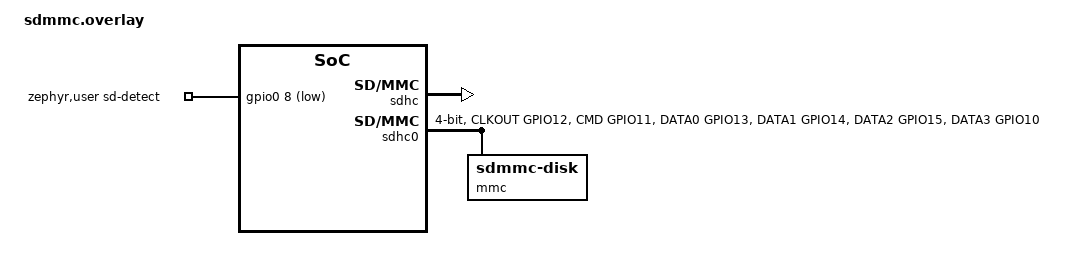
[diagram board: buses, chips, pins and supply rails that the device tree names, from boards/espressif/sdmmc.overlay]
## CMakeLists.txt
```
cmake_minimum_required(VERSION 3.20.0)
find_package(Zephyr REQUIRED HINTS $ENV{ZEPHYR_BASE})
project(zephyrforge)
if(NOT CONFIG_ZF_STORAGE AND
   (CONFIG_USBD_MSC_CLASS OR CONFIG_DISK_ACCESS OR CONFIG_DISK_DRIVER_SDMMC OR CONFIG_FILE_SYSTEM OR
    CONFIG_FAT_FILESYSTEM_ELM OR CONFIG_FS_FATFS_EXFAT OR CONFIG_SDHC OR CONFIG_SPI_SDHC OR
    CONFIG_ZF_SDHC_RPI_PICO_PIO))
  message(FATAL_ERROR
    "SD storage subsystems are owned by CONFIG_ZF_STORAGE; partial storage configuration is not supported")
endif()
if(CONFIG_FS_FATFS_MOUNT_MKFS OR CONFIG_FS_FATFS_MKFS)
  message(FATAL_ERROR "ZephyrForge never formats SD cards; disable FAT mkfs support")
endif()
if(NOT CONFIG_ZF_USB_HID AND NOT CONFIG_ZF_BLUETOOTH)
  message(FATAL_ERROR "Firmware needs a management link: enable CONFIG_ZF_USB_HID or CONFIG_ZF_BLUETOOTH")
endif()
# Kconfig symbols are the only firmware module switches.
if(CONFIG_ZF_STORAGE_BENCHMARK)
  target_compile_definitions(app PRIVATE
    ZF_BENCHMARK_CHUNK_SIZE=${CONFIG_ZF_STORAGE_BENCHMARK_CHUNK_SIZE})
endif()
if(CONFIG_SOC_FAMILY_RPI_PICO)
  # Report 1 identity: MCU 1 RP2040 or 2 RP2350. Report 2 monitor UART pins are read from the
  # console devicetree pinctrl in board.c.
  if(CONFIG_SOC_RP2040)
    set(zf_mcu ZF_MCU_RP2040)
  else()
    set(zf_mcu ZF_MCU_RP2350)
  endif()
  if(CONFIG_BOARD_RPI_PICO_RP2040_W)
    set(zf_board ZF_BOARD_PICO_W)
  elseif(CONFIG_BOARD_RPI_PICO2_RP2350A_M33_W)
    set(zf_board ZF_BOARD_PICO2_W)
  elseif(CONFIG_BOARD_RPI_PICO2)
    set(zf_board ZF_BOARD_PICO2)
  else()
    set(zf_board ZF_BOARD_PICO)
  endif()
  if(CONFIG_ZF_WIFI)
    set(zf_pico_rand ${ZEPHYR_HAL_RPI_PICO_MODULE_DIR}/src/rp2_common/pico_rand)
    target_sources(app PRIVATE src/drivers/random_rpi_pico.c ${zf_pico_rand}/rand.c)
    target_include_directories(app PRIVATE ${zf_pico_rand}/include
      ${ZEPHYR_HAL_RPI_PICO_MODULE_DIR}/src/common/pico_time/include)
    target_compile_definitions(app PRIVATE PICO_RAND_SEED_ENTROPY_SRC_BOARD_ID=0
      PICO_RAND_SEED_ENTROPY_SRC_RAM_HASH=0)
    # Map SDK state to Zephyr RAM and use timer waits for microsecond ROSC sampling, without SDK alarm pools.
    set_source_files_properties(${zf_pico_rand}/rand.c TARGET_DIRECTORY app PROPERTIES
      COMPILE_OPTIONS "-D__uninitialized_ram(name)=__attribute__((section(\".noinit\"))) name;-Dsleep_until=busy_wait_until")
    zephyr_syscall_header(${ZEPHYR_BASE}/include/zephyr/random/random.h)
  endif()
  target_sources(app PRIVATE src/platform/soc_rpi_pico.c)
  target_sources_ifdef(CONFIG_ZF_SDHC_RPI_PICO_PIO app PRIVATE src/drivers/sdhc_rpi_pico_pio.c
    src/drivers/sdio_codec.c)
else()
  if(CONFIG_SOC_ESP32S3)
    set(zf_mcu ZF_MCU_ESP32S3)
    set(zf_board ZF_BOARD_DEVKITC)
  elseif(CONFIG_SOC_ESP32C6)
    set(zf_mcu ZF_MCU_ESP32C6)
    set(zf_board ZF_BOARD_ESP32C6_DEVKITC)
    set(zf_sysclk_max_profile 2u)
  else()
    message(FATAL_ERROR "Unsupported Espressif SoC")
  endif()
  target_sources(app PRIVATE src/platform/soc_espressif.c)
  if(DEFINED zf_sysclk_max_profile)
    target_compile_definitions(app PRIVATE ZF_SYSCLK_MAX_PROFILE=${zf_sysclk_max_profile})
  endif()
endif()

target_sources_ifdef(CONFIG_ZF_WIFI app PRIVATE src/wifi/wifi_station.c src/wifi/wifi_driver.c
  src/wifi/wifi_policy.c src/wifi/wifi_scan_table.c)
target_sources_ifdef(CONFIG_ZF_BLUETOOTH app PRIVATE src/transport/ble_gatt.c src/transport/ble_auth.c
  src/transport/sha256.c)
target_compile_definitions(app PRIVATE ZF_MCU=${zf_mcu} ZF_BOARD_MODEL=${zf_board})

target_sources_ifdef(CONFIG_ZF_STORAGE app PRIVATE src/storage/storage_service.c src/storage/storage_media.c
  src/storage/storage_policy.c)
target_sources_ifdef(CONFIG_ZF_USB_MSC app PRIVATE src/transport/usb_msc.c)
target_sources_ifdef(CONFIG_ZF_STORAGE_BENCHMARK app PRIVATE src/benchmark/benchmark_engine.c
  src/benchmark/benchmark_service.c src/benchmark/benchmark_media.c)
target_sources(app PRIVATE
  src/app/main.c
  src/app/runtime.c
  src/platform/board.c
  src/management/control.c
  src/management/credential_stage.c
  src/protocol/report_codec.c
  src/management/report_builder.c
  src/settings/settings.c
  src/settings/settings_flash_read.c
  src/management/telemetry.c)
target_sources_ifdef(CONFIG_ZF_SETTINGS_SAVE app PRIVATE src/settings/settings_flash_write.c)
target_sources_ifdef(CONFIG_ZF_LED app PRIVATE src/platform/led.c)
target_sources_ifdef(CONFIG_ZF_USB_HID app PRIVATE src/transport/usb_device.c)
target_include_directories(app PRIVATE src)
# The pinned ESP32-S3 HAL leaves the PHY library's weak sensor-power hooks linked. They power the die-temperature
# sensor off during Wi-Fi modem sleep, and the next telemetry read then spins with interrupts locked. The HAL
# override reference-counts that power instead.
if(CONFIG_ESP32_TEMP AND CONFIG_SOC_ESP32S3)
  target_sources(app PRIVATE ${ZEPHYR_HAL_ESPRESSIF_MODULE_DIR}/components/esp_phy/src/phy_override.c)
endif()
# Release builds pass the tag version; other builds use the development default.
if(NOT DEFINED ZEPHYRFORGE_VERSION)
  set(ZEPHYRFORGE_VERSION "$ENV{ZEPHYRFORGE_VERSION}")
endif()
if("${ZEPHYRFORGE_VERSION}" STREQUAL "")
  set(ZEPHYRFORGE_VERSION 0.1.0)
endif()
set(zf_version_component "(0|[1-9]|[1-9][0-9]|1[0-9][0-9]|2[0-4][0-9]|25[0-5])")
if(NOT "${ZEPHYRFORGE_VERSION}" MATCHES
   "^${zf_version_component}\\.${zf_version_component}\\.${zf_version_component}$")
  message(FATAL_ERROR
    "ZEPHYRFORGE_VERSION must be MAJOR.MINOR.PATCH with components from 0 to 255 and no leading zeros")
endif()
set(ZEPHYRFORGE_VERSION_MAJOR ${CMAKE_MATCH_1})
set(ZEPHYRFORGE_VERSION_MINOR ${CMAKE_MATCH_2})
set(ZEPHYRFORGE_VERSION_PATCH ${CMAKE_MATCH_3})
configure_file(src/app/version.h.in ${CMAKE_CURRENT_BINARY_DIR}/zephyrforge/app/version.h @ONLY)
target_include_directories(app PRIVATE ${CMAKE_CURRENT_BINARY_DIR}/zephyrforge)
```

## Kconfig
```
# SPDX-License-Identifier: BSD-3-Clause
# Copyright (c) 2026 Ji Dong

menu "ZephyrForge modules"

# Each module defaults on when the board devicetree describes its hardware. Disable one with
# -DCONFIG_ZF_<MODULE>=n or menuconfig; the module selects the Zephyr subsystems it needs.

config ZF_USB_HID
	bool "USB HID management"
	default y
	depends on DT_HAS_ZEPHYR_HID_DEVICE_ENABLED
	select USB_DEVICE_STACK_NEXT
	select USBD_HID_SUPPORT
	help
	  Vendor HID management interface on the native USB device, without CDC.

config ZF_LED
	bool "Addressable RGB LED"
	default y
	depends on DT_HAS_WORLDSEMI_WS2812_SPI_ENABLED
	select LED_STRIP
	help
	  Include the board's addressable RGB LED control when its LED strip is described in devicetree.

config ZF_STORAGE
	bool "SD card storage"
	default y
	depends on DT_HAS_ZEPHYR_SDMMC_DISK_ENABLED
	select DISK_ACCESS
	select SDHC
	select FILE_SYSTEM
	select FAT_FILESYSTEM_ELM
	select FS_FATFS_EXFAT
	help
	  Removable SD card described by a board storage overlay, mounted as FAT or exFAT at boot and never
	  formatted.

config ZF_USB_MSC
	bool "USB mass storage"
	default y
	depends on ZF_STORAGE && ZF_USB_HID
	select USBD_MSC_CLASS
	help
	  Exports the mounted SD card over USB on request. Without it, card-export commands report unsupported.

config ZF_STORAGE_BENCHMARK
	bool "Storage benchmark"
	default y
	depends on ZF_STORAGE && ZF_USB_HID
	help
	  Temporary-file verification and throughput measurement on the mounted card. Starting a run needs native
	  USB HID control, so boards without it never include the benchmark.

config ZF_STORAGE_BENCHMARK_CHUNK_SIZE
	int "Storage benchmark transfer size"
	default 32768
	range 4096 32768
	depends on ZF_STORAGE_BENCHMARK
	help
	  Size in bytes of the aligned verification buffer. Smaller values reduce static RAM at the cost of more
	  filesystem calls.

config ZF_WIFI
	bool "Wi-Fi station"
	default y
	depends on DT_HAS_ESPRESSIF_ESP32_WIFI_ENABLED || DT_HAS_INFINEON_AIROC_WIFI_ENABLED
	select NETWORKING
	select WIFI
	select NET_IPV4
	select NET_TCP
	select NET_DHCPV4
	select NET_MGMT
	select NET_MGMT_EVENT
	select NET_MGMT_EVENT_INFO
	help
	  IPv4 Wi-Fi station managed from the dashboard.

config ZF_TCP_SHELL
	bool "Wi-Fi diagnostic shell"
	default n
	depends on ZF_WIFI
	select SHELL
	select SHELL_BACKEND_TELNET
	help
	  Diagnostic shell on TCP port 2323. It is unauthenticated plaintext for trusted networks only.

config ZF_UART_SHELL
	bool "UART diagnostic shell"
	default n
	select SHELL
	select SHELL_BACKEND_SERIAL
	help
	  Diagnostic shell on the monitor UART. The shell is unauthenticated and should only be enabled on trusted
	  physical connections. Without the TCP shell it adds the kernel shell, whose "kernel thread stacks" command
	  reports stack high-water marks.

config ZF_CPU_LOAD
	bool "CPU load telemetry"
	default y
	select THREAD_RUNTIME_STATS
	select SCHED_THREAD_USAGE_ALL
	help
	  Include per-core runtime accounting in telemetry. Disable to reduce scheduler accounting overhead.

config ZF_TEMPERATURE
	bool "Die-temperature telemetry"
	default y
	depends on DT_HAS_ESPRESSIF_ESP32_TEMP_ENABLED || DT_HAS_RASPBERRYPI_PICO_TEMP_ENABLED
	select SENSOR
	help
	  Include die-temperature sampling when the selected board describes a supported sensor. The
	  telemetry field remains present and reports unavailable when this module is disabled.

config ZF_SETTINGS_SAVE
	bool "Persistent settings save"
	default y if SOC_FAMILY_ESPRESSIF_ESP32
	depends on FLASH_MAP && $(dt_nodelabel_enabled,storage_partition)
	help
	  Include the asynchronous flash-backed boot settings writer. Settings remain readable when disabled.
	  Enabled by default on Espressif targets; other boards with a storage_partition can opt in.

config ZF_BLUETOOTH
	bool "Bluetooth LE management"
	default y
	depends on DT_HAS_ESPRESSIF_ESP32_BT_HCI_ENABLED
	select BT
	select BT_PERIPHERAL
	select BT_DEVICE_NAME_DYNAMIC
	select BT_GATT_SERVICE_CHANGED
	select BT_GATT_CACHING
	help
	  Authenticated BLE management peripheral.

config ZF_SDHC_RPI_PICO_PIO
	bool "Native four-bit SD host on an RP2040/RP2350 PIO block"
	default y
	depends on DT_HAS_ZEPHYRFORGE_RPI_PICO_PIO_SDHC_ENABLED
	depends on SDHC
	depends on PIO_RPI_PICO
	# The host claims a DMA channel through pico-sdk, which Zephyr's DMA driver does not coordinate with.
	depends on !DMA_RPI_PICO
	select SDHC_SUPPORTS_NATIVE_MODE
	select PINCTRL
	select PICOSDK_USE_PIO
	select PICOSDK_USE_DMA
	select PICOSDK_USE_CLAIM
	select PICOSDK_USE_GPIO
	help
	  SD host for the zephyrforge,rpi-pico-pio-sdhc devicetree node. It runs the SD bus with PIO programs and
	  one DMA channel, so cards work in native four-bit mode on MCUs without an SDIO controller.

config ZF_PICO_NETWORK_RANDOM
	bool
	default y
	depends on SOC_FAMILY_RPI_PICO && ZF_WIFI
	select PICOSDK_USE_TIMER
	help
	  Use the Pico SDK PRNG for noncryptographic network identifiers. This does not provide a CSPRNG.

endmenu

# Subsystem defaults for enabled modules. They precede the Zephyr tree, so they take priority over its defaults
# while project and board .conf files can still override them.

if ZF_USB_HID
config USBD_THREAD_STACK_SIZE
	default 4096
choice USBD_LOG_LEVEL_CHOICE
	default USBD_LOG_LEVEL_WRN
endchoice
choice UDC_DRIVER_LOG_LEVEL_CHOICE
	default UDC_DRIVER_LOG_LEVEL_WRN
endchoice
endif

if ZF_STORAGE
# Never format a card: a failed mount must leave the card untouched.
config FS_FATFS_MOUNT_MKFS
	default n
config FS_FATFS_MKFS
	default n
endif

if ZF_USB_MSC
config USBD_MSC_STACK_SIZE
	default 4096
endif

if ZF_WIFI
config NET_IPV6
	default n
config NET_MGMT_EVENT_QUEUE_SIZE
	default 16
config NET_MGMT_EVENT_QUEUE_TIMEOUT
	default 5000
config NET_PKT_RX_COUNT
	default 10
config NET_PKT_TX_COUNT
	default 10
config NET_BUF_RX_COUNT
	default 20
config NET_BUF_TX_COUNT
	default 20
config NET_RX_STACK_SIZE
	default 2048
config NET_TX_STACK_SIZE
	default 2048
# The dashboard owns Wi-Fi and network management; keep both off every shell.
config NET_SHELL
	default n
config NET_L2_WIFI_SHELL
	default n
config HEAP_MEM_POOL_SIZE
	default 65536 if DT_HAS_INFINEON_AIROC_WIFI_ENABLED
endif

if ZF_TCP_SHELL
config SHELL_PROMPT_TELNET
	default "ZephyrForge> "
config SHELL_TELNET_PORT
	default 2323
config SHELL_TELNET_SUPPORT_COMMAND
	default n
# No log output on the network shell. The upstream level choice is anonymous, so set the resulting level directly.
config SHELL_TELNET_INIT_LOG_LEVEL
	default 0
endif

if ZF_UART_SHELL
config SHELL_PROMPT_UART
	default "ZephyrForge> "
endif

# Keep optional diagnostic shells from exposing broad system or storage controls.
config SHELL_LOG_BACKEND
	default n
config SHELL_HISTORY
	default n
config DEVICE_SHELL_INIT_CMD
	default n
config DATE_SHELL
	default n
config DEVMEM_SHELL
	default n
# The kernel shell reports thread stack high-water marks. Shell commands reach every backend, so it stays off
# whenever the unauthenticated network shell is built.
config KERNEL_SHELL
	default y if ZF_UART_SHELL && !ZF_TCP_SHELL
	default n
config FILE_SYSTEM_SHELL
	default n
config FLASH_SHELL
	default n

if ZF_BLUETOOTH
config BT_MAX_CONN
	default 1
config BT_DEVICE_NAME
	default "ZephyrForge"
config BT_DEVICE_NAME_MAX
	default 28
config BT_DEVICE_APPEARANCE
	default 0
config BT_RX_STACK_SIZE
	default 4096
# The authenticated BLE service owns Bluetooth control; keep it off every shell.
config BT_SHELL
	default n
endif

source "Kconfig.zephyr"
```

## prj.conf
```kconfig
# Settings shared by every board. The build selects any board additions from its board folder.

# Diagnostics on the board's monitor UART; dashboard management is USB HID, or BLE on boards with a radio.
CONFIG_SERIAL=y
CONFIG_CONSOLE=y
CONFIG_UART_CONSOLE=y
CONFIG_PRINTK=y
CONFIG_LOG=y
CONFIG_LOG_MODE_MINIMAL=y

CONFIG_MAIN_STACK_SIZE=6144
CONFIG_SYSTEM_WORKQUEUE_STACK_SIZE=4096
CONFIG_FLASH=y
CONFIG_FLASH_MAP=y
CONFIG_CRC=y
CONFIG_CLOCK_CONTROL=y
CONFIG_REBOOT=y
CONFIG_HWINFO=y
CONFIG_GPIO=y
```

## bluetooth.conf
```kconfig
# Authenticated BLE management shared by targets with a supported HCI transport.
CONFIG_BT=y
CONFIG_BT_PERIPHERAL=y
CONFIG_BT_MAX_CONN=1
CONFIG_BT_DEVICE_NAME="ZephyrForge"
CONFIG_BT_DEVICE_NAME_DYNAMIC=y
CONFIG_BT_DEVICE_NAME_MAX=28
CONFIG_BT_DEVICE_APPEARANCE=0
CONFIG_BT_GATT_SERVICE_CHANGED=y
CONFIG_BT_GATT_CACHING=y
CONFIG_BT_RX_STACK_SIZE=4096
```

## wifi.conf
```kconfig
# Wi-Fi station management shared by wireless-capable targets.
CONFIG_NETWORKING=y
CONFIG_WIFI=y
CONFIG_NET_IPV4=y
CONFIG_NET_IPV6=n
CONFIG_NET_TCP=y
CONFIG_NET_DHCPV4=y
CONFIG_NET_MGMT=y
CONFIG_NET_MGMT_EVENT=y
CONFIG_NET_MGMT_EVENT_INFO=y
CONFIG_NET_MGMT_EVENT_QUEUE_SIZE=16
CONFIG_NET_MGMT_EVENT_QUEUE_TIMEOUT=5000
CONFIG_NET_PKT_RX_COUNT=10
CONFIG_NET_PKT_TX_COUNT=10
CONFIG_NET_BUF_RX_COUNT=20
CONFIG_NET_BUF_TX_COUNT=20
CONFIG_NET_RX_STACK_SIZE=2048
CONFIG_NET_TX_STACK_SIZE=2048
```

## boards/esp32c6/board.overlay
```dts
/* ESP32-C6-DevKitC-1 N8: 8 MB flash; the upstream board DTS uses the 4 MB partition table. */
&flash0 {
	reg = <0x0 0x800000>;
	/delete-node/ partitions;
};

#include <espressif/partitions_0x0_default_8M.dtsi>
```

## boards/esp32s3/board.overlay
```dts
/*
 * ESP32-S3-DevKitC-1 N16R8: 16 MB flash, 8 MB octal PSRAM, USB HID on GPIO19/20 and WS2812 on GPIO48.
 * The upstream board DTS describes the N8 module with the 4 MB partition table, so replace both.
 */
#include <zephyr/dt-bindings/pinctrl/esp32s3-pinctrl.h>
#include <zephyr/dt-bindings/led/led.h>
&flash0 {
	reg = <0x0 DT_SIZE_M(16)>;
	/delete-node/ partitions;
};

#include <espressif/partitions_0x0_amp_16M.dtsi>

&psram0 {
	size = <DT_SIZE_M(8)>;
};

/* Native USB OTG on the DevKitC USB connector (GPIO19 D-, GPIO20 D+). */
&usb_otg {
	status = "okay";
	zephyrforge_hid: hid_dev_0 {
		compatible = "zephyr,hid-device";
		label = "ZephyrForge";
		protocol-code = "none";
		in-report-size = <64>;
		in-polling-period-us = <4000>;
	};
};

&coretemp {
	status = "okay";
};

&pinctrl {
	zephyrforge_led_default: zephyrforge_led_default {
		mosi {
			pinmux = <SPIM2_MOSI_GPIO48>;
			bias-pull-down;
		};
	};
};

&spi2 {
	status = "okay";
	line-idle-low;
	pinctrl-0 = <&zephyrforge_led_default>;
	pinctrl-names = "default";
	zephyrforge_led: led-strip@0 {
		compatible = "worldsemi,ws2812-spi";
		reg = <0>;
		spi-max-frequency = <6400000>;
		spi-zero-frame = <0xc0>;
		spi-one-frame = <0xf0>;
		chain-length = <1>;
		color-mapping = <LED_COLOR_ID_GREEN LED_COLOR_ID_RED LED_COLOR_ID_BLUE>;
		reset-delay = <350>;
	};
};

/* SPI3's default pins overlap the module's internal flash/PSRAM signals (octal PSRAM uses GPIO33-37). */
&spi3 {
	status = "disabled";
};
```

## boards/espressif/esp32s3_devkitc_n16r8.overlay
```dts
#include <zephyr/dt-bindings/pinctrl/esp32s3-pinctrl.h>
#include <zephyr/dt-bindings/led/led.h>

/*
 * ESP32-S3-DevKitC-1 N16R8 (ESP32-S3-WROOM-1-N16R8): 16 MB quad flash and 8 MB octal PSRAM.
 * The upstream board DTS describes the N8 module with the 4 MB partition table, so replace both.
 */
&flash0 {
	reg = <0x0 DT_SIZE_M(16)>;
	/delete-node/ partitions;
};

#include <espressif/partitions_0x0_amp_16M.dtsi>

&psram0 {
	size = <DT_SIZE_M(8)>;
};

/* Native USB OTG on the DevKitC USB connector (GPIO19 D-, GPIO20 D+). */
&usb_otg {
	status = "okay";
	zephyrforge_hid: hid_dev_0 {
		compatible = "zephyr,hid-device";
		label = "ZephyrForge";
		protocol-code = "none";
		in-report-size = <64>;
		in-polling-period-us = <4000>;
	};
};

&coretemp {
	status = "okay";
};

&pinctrl {
	zephyrforge_led_default: zephyrforge_led_default {
		mosi {
			pinmux = <SPIM2_MOSI_GPIO48>;
			bias-pull-down;
		};
	};
};

&spi2 {
	status = "okay";
	line-idle-low;
	pinctrl-0 = <&zephyrforge_led_default>;
	pinctrl-names = "default";
	zephyrforge_led: led-strip@0 {
		compatible = "worldsemi,ws2812-spi";
		reg = <0>;
		spi-max-frequency = <6400000>;
		spi-zero-frame = <0xc0>;
		spi-one-frame = <0xf0>;
		chain-length = <1>;
		color-mapping = <LED_COLOR_ID_GREEN LED_COLOR_ID_RED LED_COLOR_ID_BLUE>;
		reset-delay = <350>;
	};
};

/* SPI3's default pins overlap the module's internal flash/PSRAM signals (octal PSRAM uses GPIO33-37). */
&spi3 {
	status = "disabled";
};
```

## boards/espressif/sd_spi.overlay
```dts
#include "sdmmc.overlay"

/ {
	aliases {
		zephyrforge-sd = &zephyrforge_sd_spi;
	};
};

&sdhc {
	status = "disabled";
};

&sdhc0 {
	status = "disabled";
	mmc {
		status = "disabled";
	};
};

&pinctrl {
	zephyrforge_sd_spi_default: zephyrforge_sd_spi_default {
		clock {
			pinmux = <SPIM3_SCLK_GPIO12>;
		};
		data {
			pinmux = <SPIM3_MOSI_GPIO11>, <SPIM3_MISO_GPIO13>;
			bias-pull-up;
		};
	};
};

/* Override all default SPI3 pins to avoid the module's internal flash/PSRAM signals. */
&spi3 {
	status = "okay";
	pinctrl-0 = <&zephyrforge_sd_spi_default>;
	pinctrl-names = "default";
	cs-gpios = <&gpio0 10 GPIO_ACTIVE_LOW>;
	zephyrforge_sd_spi: sdhc@0 {
		compatible = "zephyr,sdhc-spi-slot";
		reg = <0>;
		spi-max-frequency = <25000000>;
		mmc {
			compatible = "zephyr,sdmmc-disk";
			disk-name = "SD";
			status = "okay";
		};
	};
};
```

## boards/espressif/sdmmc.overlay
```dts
#include <zephyr/dt-bindings/gpio/gpio.h>
#include <zephyr/dt-bindings/pinctrl/esp32s3-pinctrl.h>

/ {
	aliases {
		zephyrforge-sd = &sdhc0;
	};
	zephyr,user {
		sd-detect-gpios = <&gpio0 8 (GPIO_ACTIVE_LOW | GPIO_PULL_UP)>;
	};
};

&pinctrl {
	/* The 20 mA reset-default pad drive caused SD write CRC errors on tested hand wiring; 10 mA passed. */
	zephyrforge_sd_default: zephyrforge_sd_default {
		clock {
			pinmux = <SDHC0_CLKOUT_GPIO12>;
			drive-strength = <10>;
		};
		command_data {
			pinmux = <SDHC0_CMD_GPIO11>, <SDHC0_DATA0_GPIO13>,
				 <SDHC0_DATA1_GPIO14>, <SDHC0_DATA2_GPIO15>, <SDHC0_DATA3_GPIO10>;
			bias-pull-up;
			drive-strength = <10>;
		};
	};
};

&sdhc {
	status = "okay";
};

zephyrforge_sd: &sdhc0 {
	status = "okay";
	pinctrl-0 = <&zephyrforge_sd_default>;
	pinctrl-names = "default";
	bus-width = <4>;
	max-bus-freq = <40000000>;
	mmc {
		compatible = "zephyr,sdmmc-disk";
		disk-name = "SD";
		status = "okay";
	};
};
```

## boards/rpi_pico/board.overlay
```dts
/*
 * Raspberry Pi Pico family: management USB HID and die-temperature sensor. This overlay adds no GPIO pin assignments.
 */
&zephyr_udc0 {
	zephyrforge_hid: hid_dev_0 {
		compatible = "zephyr,hid-device";
		label = "ZephyrForge";
		protocol-code = "none";
		in-report-size = <64>;
		in-polling-period-us = <4000>;
	};
};

coretemp: &die_temp {
	status = "okay";
};
```

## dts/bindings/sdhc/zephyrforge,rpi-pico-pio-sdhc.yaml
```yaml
# SPDX-License-Identifier: BSD-3-Clause
# Copyright (c) 2026 Ji Dong

description: |
  Native four-bit SD host implemented with an RP2040/RP2350 PIO block and one DMA channel.

  The node is a child of a PIO controller and must own that whole PIO block: transfers swap programs that together
  fill its 32-instruction memory. The default pinctrl state needs two groups routed to that PIO, each with input and
  Schmitt-trigger enable: clock (CLK) and command_data (CMD, then DAT0-DAT3 on four consecutive GPIOs in order).
  CLK must be the GPIO two below DAT0, modulo 32. CMD and DAT lines need pull-ups.

  max-bus-freq is the fastest High Speed clock the host may select, at most 50 MHz. The host offers High Speed only
  when max-bus-freq is above 25 MHz and the PIO clock can time it; otherwise cards stay in Default Speed, where the
  Zephyr SD stack keeps a one-bit bus.

compatible: "zephyrforge,rpi-pico-pio-sdhc"

include: [sdhc.yaml, "raspberrypi,pico-pio-device.yaml"]

properties:
  pinctrl-0:
    required: true

  pinctrl-names:
    required: true
```

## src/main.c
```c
#include "board/board.h"
#include "capabilities.h"
#include "led/led.h"
#include "sysclk/sysclk.h"
#include "control/control.h"
#include "settings/settings.h"
#include "storage/storage.h"
#include "telemetry/telemetry.h"
#include "usb/usb.h"
#include "wireless/ble/ble.h"
#include "wireless/wifi/wifi.h"
#include "zephyrforge.h"

#include <zephyr/kernel.h>
#include <zephyr/sys/printk.h>

#define SERVICE_TICK_MS 100

K_MUTEX_DEFINE(app_lock);
K_SEM_DEFINE(main_wakeup, 0, 1);

void zf_lock(void)
{
	(void)k_mutex_lock(&app_lock, K_FOREVER);
}

void zf_unlock(void)
{
	(void)k_mutex_unlock(&app_lock);
}

void zf_poll_wakeup(void)
{
	k_sem_give(&main_wakeup);
}

int main(void)
{
	uint8_t radios;
	int64_t settings_started;
	int err;

	zf_board_init();
	zf_lock();
	settings_started = k_uptime_get();
	zf_settings_load();
	zf_settings_source_t settings_source = zf_settings_source();
	zf_control_init();
	radios = zf_settings_boot_radios() & ZF_RADIO_MASK;
	zf_unlock();
	printk("ZephyrForge %s (%s)\n", ZEPHYRFORGE_VERSION, zf_board_serial());
	printk("Boot settings load: %lld ms (source %u)\n",
	       (long long)(k_uptime_get() - settings_started), settings_source);
	if (settings_source == ZF_SETTINGS_READ_ERROR) {
		printk("Boot settings read failed; defaults are active\n");
	}

	err = zf_sysclk_apply(zf_sysclk_profile_mhz(zf_settings_boot_sysclk()));
	if (err) {
		printk("CPU clock change failed: %d\n", err);
	}
	zf_telemetry_init();
	zf_led_init();
	zf_storage_init();
	zf_wifi_init((radios & ZF_WIRELESS_WIFI) != 0);
	zf_ble_init((radios & ZF_WIRELESS_BLE) != 0);
	if (zf_usb_init() != 0) {
		printk("USB HID unavailable\n");
	}

	while (true) {
		zf_lock();
		zf_control_tick(k_uptime_get());
		zf_unlock();
		zf_wifi_poll();
		zf_telemetry_poll();
		zf_usb_poll();
		(void)k_sem_take(&main_wakeup, K_MSEC(SERVICE_TICK_MS));
	}
	return 0;
}
```

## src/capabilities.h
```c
/**
 * @file capabilities.h
 * @brief Board and module capabilities advertised by the selected firmware image.
 */
#ifndef ZEPHYRFORGE_CAPABILITIES_H
#define ZEPHYRFORGE_CAPABILITIES_H

#include "module_config.h"
#include "report/report.h"
#include "wireless/wireless_types.h"

#ifndef ZF_MCU
#define ZF_MCU ZF_MCU_ESP32S3
#endif
#ifndef ZF_BOARD_MODEL
#define ZF_BOARD_MODEL ZF_BOARD_DEVKITC
#endif
#ifndef ZF_RADIO_MASK
#define ZF_RADIO_MASK (ZF_WIRELESS_WIFI | ZF_WIRELESS_BLE)
#endif
#ifndef ZF_BOARD_CAPS
#define ZF_BOARD_CAPS (ZF_CAP_LED | ZF_CAP_SETTINGS | ZF_CAP_WIRELESS)
#endif

#define ZF_BOARD_CAPS_ESP32S3 (ZF_CAP_LED | ZF_CAP_SETTINGS | ZF_CAP_WIRELESS)
#define ZF_BOARD_CAPS_ESP32C6 (ZF_CAP_SETTINGS | ZF_CAP_WIRELESS)
#define ZF_CAP_STORAGE (ZF_ENABLE_STORAGE ? (ZF_STORAGE_SPI ? ZF_CAP_SPI : ZF_CAP_SDMMC) : 0u)
#define ZF_CAPABILITIES \
	(ZF_BOARD_CAPS | ZF_CAP_REBOOT | ZF_CAP_STORAGE | \
	 (ZF_ENABLE_STORAGE && ZF_ENABLE_STORAGE_BENCHMARK ? ZF_CAP_BENCHMARK : 0))

#endif
```

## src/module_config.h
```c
/**
 * @file module_config.h
 * @brief Build-selected module switches shared by firmware and portable tests.
 */
#ifndef ZEPHYRFORGE_MODULE_CONFIG_H
#define ZEPHYRFORGE_MODULE_CONFIG_H

#ifndef ZF_ENABLE_STORAGE
#define ZF_ENABLE_STORAGE 1
#endif
#ifndef ZF_ENABLE_USB_HID
#define ZF_ENABLE_USB_HID 1
#endif
#ifndef ZF_ENABLE_USB_MSC
#define ZF_ENABLE_USB_MSC (ZF_ENABLE_STORAGE && ZF_ENABLE_USB_HID)
#endif
#ifndef ZF_ENABLE_STORAGE_BENCHMARK
#define ZF_ENABLE_STORAGE_BENCHMARK (ZF_ENABLE_STORAGE && ZF_ENABLE_USB_HID)
#endif
#ifndef ZF_STORAGE_SPI
#define ZF_STORAGE_SPI 0
#endif

#endif
```

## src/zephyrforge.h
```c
/**
 * @file zephyrforge.h
 * @brief Firmware version and the application lock shared by every module.
 */
#ifndef ZEPHYRFORGE_H
#define ZEPHYRFORGE_H

#ifndef ZEPHYRFORGE_VERSION
/** Semantic version stamped by the build (ZEPHYRFORGE_VERSION environment) or the development default. */
#define ZEPHYRFORGE_VERSION "0.1.0"
#endif

/** Recursive lock for shared control, settings, staging and BLE session state. */
void zf_lock(void);
/** Release the recursive application lock taken by zf_lock(). */
void zf_unlock(void);
/** Wake the main service loop after a queued module event. */
void zf_poll_wakeup(void);
#endif
```
